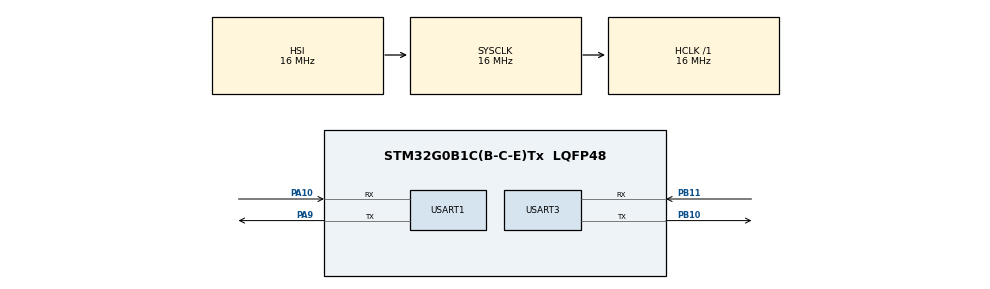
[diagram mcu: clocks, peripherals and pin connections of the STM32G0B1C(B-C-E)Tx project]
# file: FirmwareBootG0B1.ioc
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Mcu.Family=STM32G0
Mcu.Name=STM32G0B1C(B-C-E)Tx
Mcu.Package=LQFP48
NVIC.USART1_IRQn=true\:0\:0\:false\:false\:true\:true\:true\:true
NVIC.USART3_4_5_6_LPUART1_IRQn=true\:0\:0\:false\:false\:true\:true\:true\:true
PA10.Mode=Asynchronous
PA10.Signal=USART1_RX
PA9.Mode=Asynchronous
PA9.Signal=USART1_TX
PB10.Mode=Asynchronous
PB10.Signal=USART3_TX
PB11.Mode=Asynchronous
PB11.Signal=USART3_RX
ProjectManager.HeapSize=0x200
ProjectManager.StackSize=0x400
ProjectManager.TargetToolchain=STM32CubeIDE
RCC.AHBFreq_Value=16000000
RCC.CortexFreq_Value=16000000
RCC.EXTERNAL_CLOCK_VALUE=48000
RCC.HCLKFreq_Value=16000000
RCC.HSE_VALUE=8000000
RCC.HSI48_VALUE=48000000
RCC.HSI_VALUE=16000000
RCC.LSE_VALUE=32768
RCC.SYSCLKFreq_VALUE=16000000
RCC.USBFreq_Value=48000000
RCC.VCOOutputFreq_Value=128000000
USART1.VirtualMode-Asynchronous=VM_ASYNC
USART3.VirtualMode-Asynchronous=VM_ASYNC
VP_SYS_VS_DBSignals.Mode=DisableDeadBatterySignals
board=custom

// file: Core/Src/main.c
/* USER CODE BEGIN Header */
/**
  ******************************************************************************
  * @file           : main.c
  * @brief          : Main program body
  ******************************************************************************
  * @attention
  *
  * Copyright (c) 2025 STMicroelectronics.
  * All rights reserved.
  *
  * This software is licensed under terms that can be found in the LICENSE file
  * in the root directory of this software component.
  * If no LICENSE file comes with this software, it is provided AS-IS.
  *
  ******************************************************************************
  */
/* USER CODE END Header */
#include "main.h"

/* USER CODE BEGIN Includes */
#include <stdio.h>
#include <string.h>
#include <stdbool.h>
/* USER CODE END Includes */

/* USER CODE BEGIN PD */
#define MAX_BLOCK_SIZE          ( 1024 )                  //1KB
#define ETX_APP_START_ADDRESS   0x08008400
#define FLASH_PAGE_SIZE        2048 // 2 KB
/* USER CODE END PD */

/* USER CODE BEGIN PM */
#define MAJOR 1
#define MINOR 0
/* USER CODE END PM */

UART_HandleTypeDef huart1;
UART_HandleTypeDef huart3;

/* USER CODE BEGIN PV */
uint8_t BL_Version[2] = { MAJOR, MINOR };
uint16_t application_size = 0;
uint16_t application_write_idx = 0;
/* USER CODE END PV */

void SystemClock_Config(void);
static void MX_GPIO_Init(void);
static void MX_USART3_UART_Init(void);
static void MX_USART1_UART_Init(void);
/* USER CODE BEGIN PFP */
static void goto_application( void );
static void Firmware_Update( void );
/* USER CODE END PFP */

int main(void)
{

  /* MCU Configuration--------------------------------------------------------*/

  /* Reset of all peripherals, Initializes the Flash interface and the Systick. */
  HAL_Init();

  /* Configure the system clock */
  SystemClock_Config();

  /* Initialize all configured peripherals */
  MX_GPIO_Init();
  MX_USART3_UART_Init();
  MX_USART1_UART_Init();
  /* USER CODE BEGIN 2 */
  printf("Bootloader v%d:%d Started!!!\n", BL_Version[0], BL_Version[1]);
  /* USER CODE END 2 */
  Firmware_Update();
  goto_application();
  /* Infinite loop */
  while (1)
  {

  }
}

void SystemClock_Config(void)
{
  RCC_OscInitTypeDef RCC_OscInitStruct = {0};
  RCC_ClkInitTypeDef RCC_ClkInitStruct = {0};

  /** Configure the main internal regulator output voltage
  */
  HAL_PWREx_ControlVoltageScaling(PWR_REGULATOR_VOLTAGE_SCALE1);

  /** Initializes the RCC Oscillators according to the specified parameters
  * in the RCC_OscInitTypeDef structure.
  */
  RCC_OscInitStruct.OscillatorType = RCC_OSCILLATORTYPE_HSI;
  RCC_OscInitStruct.HSIState = RCC_HSI_ON;
  RCC_OscInitStruct.HSIDiv = RCC_HSI_DIV1;
  RCC_OscInitStruct.HSICalibrationValue = RCC_HSICALIBRATION_DEFAULT;
  RCC_OscInitStruct.PLL.PLLState = RCC_PLL_NONE;
  if (HAL_RCC_OscConfig(&RCC_OscInitStruct) != HAL_OK)
  {
    Error_Handler();
  }

  /** Initializes the CPU, AHB and APB buses clocks
  */
  RCC_ClkInitStruct.ClockType = RCC_CLOCKTYPE_HCLK|RCC_CLOCKTYPE_SYSCLK
                              |RCC_CLOCKTYPE_PCLK1;
  RCC_ClkInitStruct.SYSCLKSource = RCC_SYSCLKSOURCE_HSI;
  RCC_ClkInitStruct.AHBCLKDivider = RCC_SYSCLK_DIV1;
  RCC_ClkInitStruct.APB1CLKDivider = RCC_HCLK_DIV1;

  if (HAL_RCC_ClockConfig(&RCC_ClkInitStruct, FLASH_LATENCY_0) != HAL_OK)
  {
    Error_Handler();
  }
}

static void MX_USART1_UART_Init(void)
{

  huart1.Instance = USART1;
  huart1.Init.BaudRate = 115200;
  huart1.Init.WordLength = UART_WORDLENGTH_8B;
  huart1.Init.StopBits = UART_STOPBITS_1;
  huart1.Init.Parity = UART_PARITY_NONE;
  huart1.Init.Mode = UART_MODE_TX_RX;
  huart1.Init.HwFlowCtl = UART_HWCONTROL_NONE;
  huart1.Init.OverSampling = UART_OVERSAMPLING_16;
  huart1.Init.OneBitSampling = UART_ONE_BIT_SAMPLE_DISABLE;
  huart1.Init.ClockPrescaler = UART_PRESCALER_DIV1;
  huart1.AdvancedInit.AdvFeatureInit = UART_ADVFEATURE_NO_INIT;
  if (HAL_UART_Init(&huart1) != HAL_OK)
  {
    Error_Handler();
  }
  if (HAL_UARTEx_SetTxFifoThreshold(&huart1, UART_TXFIFO_THRESHOLD_1_8) != HAL_OK)
  {
    Error_Handler();
  }
  if (HAL_UARTEx_SetRxFifoThreshold(&huart1, UART_RXFIFO_THRESHOLD_1_8) != HAL_OK)
  {
    Error_Handler();
  }
  if (HAL_UARTEx_DisableFifoMode(&huart1) != HAL_OK)
  {
    Error_Handler();
  }

}

static void MX_USART3_UART_Init(void)
{

  huart3.Instance = USART3;
  huart3.Init.BaudRate = 115200;
  huart3.Init.WordLength = UART_WORDLENGTH_8B;
  huart3.Init.StopBits = UART_STOPBITS_1;
  huart3.Init.Parity = UART_PARITY_NONE;
  huart3.Init.Mode = UART_MODE_TX_RX;
  huart3.Init.HwFlowCtl = UART_HWCONTROL_NONE;
  huart3.Init.OverSampling = UART_OVERSAMPLING_16;
  huart3.Init.OneBitSampling = UART_ONE_BIT_SAMPLE_DISABLE;
  huart3.Init.ClockPrescaler = UART_PRESCALER_DIV1;
  huart3.AdvancedInit.AdvFeatureInit = UART_ADVFEATURE_NO_INIT;
  if (HAL_UART_Init(&huart3) != HAL_OK)
  {
    Error_Handler();
  }
  if (HAL_UARTEx_SetTxFifoThreshold(&huart3, UART_TXFIFO_THRESHOLD_1_8) != HAL_OK)
  {
    Error_Handler();
  }
  if (HAL_UARTEx_SetRxFifoThreshold(&huart3, UART_RXFIFO_THRESHOLD_1_8) != HAL_OK)
  {
    Error_Handler();
  }
  if (HAL_UARTEx_DisableFifoMode(&huart3) != HAL_OK)
  {
    Error_Handler();
  }

}

static void MX_GPIO_Init(void)
{

  /* GPIO Ports Clock Enable */
  __HAL_RCC_GPIOB_CLK_ENABLE();
  __HAL_RCC_GPIOA_CLK_ENABLE();

}

/* USER CODE BEGIN 4 */

#ifdef __GNUC__
int __io_putchar(int ch)
#else
int fputc(int ch, FILE *f)
#endif
{
    HAL_UART_Transmit(&huart1, (uint8_t *)&ch, 1, HAL_MAX_DELAY);
    return ch;
}

static int UART_Write_Loop( void )
{
  char tx = 'g';
  char rx = '0';
  HAL_StatusTypeDef ex;
  int ret = 0;
  int count = 0;

  while(1)
  {
    //Toggle GPIO
    //HAL_GPIO_TogglePin(GPIOC, GPIO_PIN_13);

    HAL_UART_Transmit(&huart3, (uint8_t *)&tx, 1, HAL_MAX_DELAY);

    ex = HAL_UART_Receive(&huart3, (uint8_t *)&rx, 1, 10);

    if( ( ex == HAL_OK ) && ( rx == 'r' ) )
    {
      //received data
      printf("Firmware Update Started\r\n");
      ret = 1;
      break;
    }

    if( count == 100 )
    {
      //received nothing
      printf("No Data Received for Firmware Update\r\n");
      break;
    }
    count++;
    HAL_Delay(20);              //20ms delay
  }

  return ret;
}

static HAL_StatusTypeDef write_data_to_flash_app(uint8_t *data,
                                                 uint16_t data_len,
                                                 bool is_first_block)
{
    HAL_StatusTypeDef ret;

    do
    {
        // Unlock the Flash memory for writing
        ret = HAL_FLASH_Unlock();
        if (ret != HAL_OK)
        {
            break;
        }

        // Erase the flash memory only for the first block
        if (is_first_block)
        {
            printf("Erasing the Flash memory...\r\n");

            FLASH_EraseInitTypeDef EraseInitStruct;
            uint32_t PageError;

            EraseInitStruct.TypeErase = FLASH_TYPEERASE_PAGES;
            EraseInitStruct.Page = (ETX_APP_START_ADDRESS - 0x08000000) / FLASH_PAGE_SIZE; // Calculate page number
            EraseInitStruct.NbPages = 47; // 95 KB application -> 47 pages of 2 KB each

            ret = HAL_FLASHEx_Erase(&EraseInitStruct, &PageError);
            if (ret != HAL_OK)
            {
                break;
            }

            application_write_idx = 0;
        }

        // Write data to flash memory
        for (int i = 0; i < data_len / 8; i++) // Process 8 bytes (64 bits) at a time
        {
            uint64_t double_word_data = 0;

            // Construct the 64-bit data from the input array
            for (int j = 0; j < 8; j++)
            {
                double_word_data |= ((uint64_t)data[i * 8 + j] << (j * 8));
            }

            // Program the double word
            ret = HAL_FLASH_Program(FLASH_TYPEPROGRAM_DOUBLEWORD,
                                    (ETX_APP_START_ADDRESS + application_write_idx),
                                    double_word_data);
            if (ret == HAL_OK)
            {
                // Update the write index
                application_write_idx += 8;
            }
            else
            {
                printf("Flash Write Error...HALT!!!\r\n");
                break;
            }
        }

        if (ret != HAL_OK)
        {
            break;
        }

        // Lock the Flash memory after writing
        ret = HAL_FLASH_Lock();
        if (ret != HAL_OK)
        {
            break;
        }
    } while (false);

    return ret;
}

static void Firmware_Update(void)
{
  uint8_t xx,yy;
  uint8_t x = 'x';
  uint8_t y = 'y';
  HAL_StatusTypeDef ex = HAL_OK;
  uint16_t current_app_size = 0;
  uint16_t i = 0;

  uint8_t block[MAX_BLOCK_SIZE] = { 0 };

  do
  {
    if( UART_Write_Loop() != 0 )
    {
      //Sender is ready. Receive the Firmware Size

      // Ask yy
      HAL_UART_Transmit(&huart3, &y, 1, HAL_MAX_DELAY);
      ex = HAL_UART_Receive(&huart3, &yy, 1, 5000);
      if( ex != HAL_OK )
      {
        printf("Get application Size error (yy)...HALT!!!\r\n");
        break;
      }

      // Ask xx
      HAL_UART_Transmit(&huart3, &x, 1, HAL_MAX_DELAY);
      ex = HAL_UART_Receive(&huart3, &xx, 1, 5000);
      if( ex != HAL_OK )
      {
        printf("Get application Size error(XX)...HALT!!!\r\n");
        break;
      }

      application_size = yy | (xx << 8);
      printf("Application Size = %d bytes\r\n", application_size);

      while(1)
      {
        if( ( i == MAX_BLOCK_SIZE ) || ( current_app_size >= application_size) )
        {
          printf("Received Block[%d]\r\n", current_app_size/MAX_BLOCK_SIZE);

          //write to flash
          ex = write_data_to_flash_app(block, MAX_BLOCK_SIZE, (current_app_size <= MAX_BLOCK_SIZE) );

          if( ex != HAL_OK )
          {
            break;
          }

          //clear the memory
          memset(block, 0,MAX_BLOCK_SIZE);
          i = 0;
        }

        if( current_app_size >= application_size)
        {
          //received all data. exit
          ex = HAL_OK;
          break;
        }

        // Ask yy
        HAL_UART_Transmit(&huart3, &y, 1, HAL_MAX_DELAY);
        ex = HAL_UART_Receive(&huart3, &yy, 1, 5000);
        if( ex != HAL_OK )
        {
          printf("Get application data[index:%d] error (yy)...HALT!!!\r\n", i);
          break;
        }

        // Ask xx
        HAL_UART_Transmit(&huart3, &x, 1, HAL_MAX_DELAY);
        ex = HAL_UART_Receive(&huart3, &xx, 1, 5000);
        if( ex != HAL_OK )
        {
          printf("Get application data[index:%d] error(XX)...HALT!!!\r\n", i);
          break;
        }

        //--- Save xxyy in block[i]
        block[i++] = yy;
        block[i++] = xx;
        current_app_size += 2;
      }
    }
  }
  while( false );

  if( ex != HAL_OK )
  {
    while(1);
  }
}

static void goto_application( void )
{
	printf("Gonna Jump to Application...\n");
	void (*app_reset_handler)(void) = (void*)(*((volatile uint32_t*)(ETX_APP_START_ADDRESS + 4U)));

	if( app_reset_handler == (void*)0xFFFFFFFF )
	{
	  printf("Invalid Application... HALT!!!\r\n");
	  while(1);
	}

	__set_MSP(*(volatile uint32_t*) ETX_APP_START_ADDRESS);

	// Turn OFF the Led to tell the user that Bootloader is not running
  //HAL_GPIO_WritePin(GPIOC, GPIO_PIN_13, GPIO_PIN_RESET );

	app_reset_handler();    //call the app reset handler
}

/* USER CODE END 4 */

void Error_Handler(void)
{
  __disable_irq();
  while (1)
  {
  }
}
